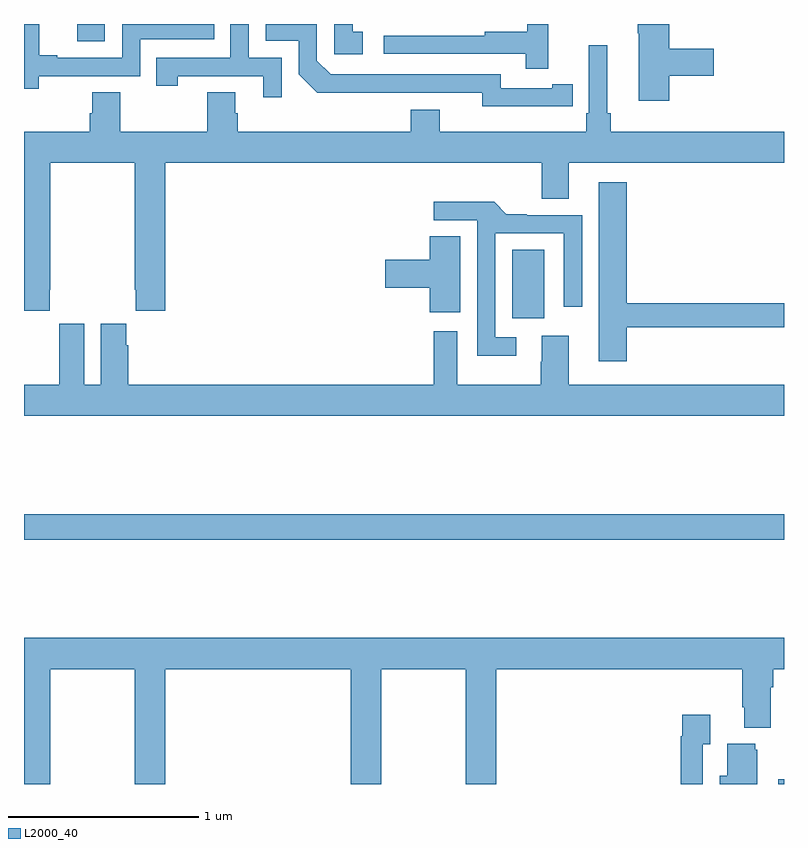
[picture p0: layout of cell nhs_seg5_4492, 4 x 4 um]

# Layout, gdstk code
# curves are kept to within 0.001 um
import gdstk
lib = gdstk.Library(unit=1e-6, precision=1e-09)
def R(c, l, rs):  # rectangles x0, y0, x1, y1
    for r in rs: c.add(gdstk.rectangle(r[:2], r[2:], *l))
def P(c, l, *ps):  # polygons
    for p in ps: c.add(gdstk.Polygon(p, *l))
L2000_40 = (2000, 40)

nhs_seg5_4492 = lib.new_cell('nhs_seg5_4492')
R(nhs_seg5_4492, L2000_40, [(378.969,878.799,379,878.824), (375,880.084,379,880.22), (377.57,881.25,377.737,881.612), (375.279,882.708,375.426,882.799)])
P(nhs_seg5_4492, L2000_40, [(377.78,882.366),(377.888,882.366),(377.888,882.482),(377.78,882.482),(377.78,882.462),(377.508,882.462),(377.508,882.534),(376.614,882.534),(376.542,882.606),(376.542,882.799),(376.272,882.799),(376.272,882.711),(376.446,882.711),(376.446,882.534),(376.544,882.437),(377.412,882.438),(377.412,882.365)],
  [(376.356,882.621),(376.182,882.621),(376.182,882.799),(376.086,882.799),(376.086,882.621),(375.697,882.621),(375.697,882.474),(375.808,882.474),(375.808,882.525),(376.259,882.525),(376.259,882.414),(376.356,882.414)],
  [(375.078,882.525),(375.612,882.525),(375.612,882.72),(376.001,882.72),(376.001,882.799),(375.516,882.799),(375.516,882.621),(375.175,882.621),(375.175,882.634),(375.08,882.634),(375.08,882.799),(375,882.799),(375,882.457),(375.078,882.457)],
  [(377.759,882.799),(377.649,882.799),(377.649,882.758),(377.425,882.758),(377.425,882.738),(376.893,882.738),(376.893,882.642),(377.641,882.642),(377.641,882.564),(377.759,882.564)],
  [(376.783,882.759),(376.73,882.759),(376.73,882.799),(376.632,882.799),(376.632,882.639),(376.783,882.639)],
  [(378.395,882.526),(378.631,882.526),(378.631,882.668),(378.395,882.668),(378.395,882.799),(378.229,882.799),(378.229,882.751),(378.236,882.751),(378.236,882.396),(378.395,882.396)],
  [(375.135,881.401),(375.138,881.401),(375.138,882.068),(375.583,882.068),(375.583,881.401),(375.589,881.401),(375.589,881.289),(375.743,881.289),(375.743,882.068),(377.726,882.068),(377.726,881.878),(377.866,881.878),(377.866,882.068),(379,882.068),(379,882.232),(378.089,882.232),(378.089,882.328),(378.07,882.328),(378.07,882.688),(377.973,882.688),(377.973,882.328),(377.96,882.328),(377.96,882.232),(377.188,882.232),(377.188,882.349),(377.036,882.349),(377.036,882.232),(376.124,882.232),(376.124,882.33),(376.111,882.33),(376.111,882.44),(375.964,882.44),(375.964,882.232),(375.507,882.232),(375.507,882.44),(375.359,882.44),(375.359,882.33),(375.347,882.33),(375.347,882.232),(375,882.232),(375,881.289),(375.135,881.289)],
  [(378.173,881.202),(379,881.202),(379,881.33),(378.173,881.33),(378.173,881.965),(378.026,881.965),(378.026,881.025),(378.173,881.025)],
  [(377.59,881.151),(377.481,881.151),(377.481,881.697),(377.841,881.697),(377.841,881.31),(377.937,881.31),(377.937,881.793),(377.647,881.793),(377.647,881.798),(377.539,881.798),(377.474,881.864),(377.157,881.864),(377.157,881.766),(377.385,881.766),(377.385,881.054),(377.59,881.054)],
  [(377.296,881.681),(377.135,881.681),(377.135,881.558),(376.902,881.558),(376.902,881.411),(377.135,881.411),(377.135,881.283),(377.296,881.283)],
  [(379,880.9),(377.866,880.9),(377.866,881.158),(377.726,881.158),(377.726,881.021),(377.719,881.021),(377.719,880.9),(377.281,880.9),(377.281,881.182),(377.156,881.182),(377.156,880.9),(375.548,880.9),(375.548,881.108),(375.538,881.108),(375.538,881.221),(375.404,881.221),(375.404,880.9),(375.316,880.9),(375.316,881.221),(375.186,881.221),(375.186,881.108),(375.185,881.108),(375.185,880.9),(375,880.9),(375,880.736),(379,880.736)],
  [(375.743,879.404),(376.721,879.404),(376.721,878.799),(376.881,878.799),(376.881,879.404),(377.326,879.404),(377.326,878.799),(377.486,878.799),(377.486,879.404),(378.779,879.404),(378.779,879.202),(378.791,879.202),(378.791,879.095),(378.931,879.095),(378.931,879.308),(378.944,879.308),(378.944,879.404),(379,879.404),(379,879.568),(375,879.568),(375,878.799),(375.138,878.799),(375.138,879.404),(375.583,879.404),(375.583,878.799),(375.743,878.799)],
  [(378.573,879.007),(378.613,879.007),(378.613,879.163),(378.465,879.163),(378.465,879.05),(378.457,879.05),(378.457,878.799),(378.573,878.799)],
  [(378.859,878.979),(378.848,878.979),(378.848,879.01),(378.701,879.01),(378.701,878.842),(378.662,878.842),(378.662,878.799),(378.859,878.799)])

lib.write_gds('nhs_seg5_4492.gds')
